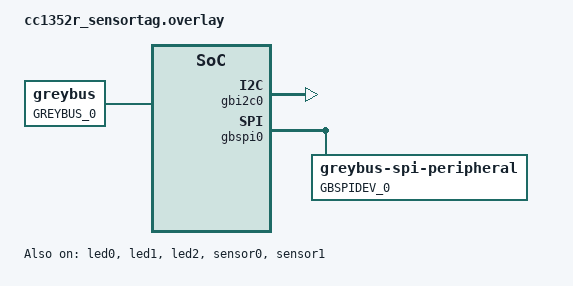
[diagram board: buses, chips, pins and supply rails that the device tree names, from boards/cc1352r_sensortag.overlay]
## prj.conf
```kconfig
CONFIG_HEAP_MEM_POOL_SIZE=16384
CONFIG_NEWLIB_LIBC=y

# Serial (required for XPORT_UART)
CONFIG_SERIAL=y

# Greybus options and dependencies
CONFIG_GREYBUS=y
CONFIG_GREYBUS_CONTROL=y
CONFIG_GREYBUS_XPORT_UART=y
CONFIG_PTHREAD_IPC=y
CONFIG_PTHREAD_DYNAMIC_STACK=y
CONFIG_THREAD_NAME=y
CONFIG_MAX_PTHREAD_COUNT=16

# Console options
CONFIG_CONSOLE_SUBSYS=y
CONFIG_CONSOLE_GETCHAR=y

# Kernel options
CONFIG_MAIN_STACK_SIZE=1024
CONFIG_ENTROPY_GENERATOR=y
CONFIG_INIT_STACKS=y

# Logging
CONFIG_LOG=y
CONFIG_PRINTK=y

# Shell
CONFIG_SHELL=n

# Pthread options
CONFIG_MAX_PTHREAD_COUNT=16
CONFIG_RING_BUFFER=y
```

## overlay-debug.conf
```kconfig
CONFIG_NO_OPTIMIZATIONS=y
CONFIG_DEBUG=y

CONFIG_ASSERT=y
CONFIG_STACK_SENTINEL=y
```

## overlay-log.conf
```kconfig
CONFIG_LOG=y
CONFIG_LOG_MODE_IMMEDIATE=y
# CONFIG_LOG_BACKEND_UART=y
CONFIG_LOG_BACKEND_SHOW_COLOR=y

CONFIG_LOG_BUFFER_SIZE=1024
CONFIG_LOG_STRDUP_BUF_COUNT=2048

CONFIG_UART_LOG_LEVEL_DBG=y
CONFIG_GREYBUS_LOG_LEVEL_DBG=y
```

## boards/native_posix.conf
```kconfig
# Copyright (c) 2020 Friedt Professional Engineering Services, Inc
# SPDX-License-Identifier: BSD-3-Clause

CONFIG_UART_NATIVE_POSIX=y
# CONFIG_UART_NATIVE_POSIX_PORT_1_ENABLE=y
# CONFIG_NATIVE_UART_0_ON_OWN_PTY=y
# CONFIG_NATIVE_UART_0_ON_STDINOUT=y
CONFIG_UART_CONSOLE=y
CONFIG_LOG_BACKEND_NATIVE_POSIX=y
CONFIG_GREYBUS_XPORT_UART_DEV="UART_0"

CONFIG_GPIO=y
CONFIG_GPIO_EMUL=y
CONFIG_GREYBUS_GPIO=y

CONFIG_I2C=y
CONFIG_I2C_EMUL=y
CONFIG_GREYBUS_I2C=y

# CONFIG_SPI=y
# CONFIG_SPI_EMUL=y
# CONFIG_GREYBUS_SPI=y

CONFIG_BMI160=y
CONFIG_EMUL_BMI160=y
CONFIG_SENSOR=y
CONFIG_BMI160_TRIGGER_NONE=y
```

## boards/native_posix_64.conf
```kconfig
# Copyright (c) 2020 Friedt Professional Engineering Services, Inc
# SPDX-License-Identifier: BSD-3-Clause

CONFIG_GPIO=y
CONFIG_GPIO_EMUL=y
CONFIG_GREYBUS_GPIO=y

CONFIG_I2C=y
CONFIG_I2C_EMUL=y
CONFIG_GREYBUS_I2C=y

# CONFIG_SPI=y
# CONFIG_SPI_EMUL=y
# CONFIG_GREYBUS_SPI=y

CONFIG_BMI160=y
CONFIG_EMUL_BMI160=y
CONFIG_SENSOR=y
CONFIG_BMI160_TRIGGER_NONE=y
```

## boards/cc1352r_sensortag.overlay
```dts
/*
 * Copyright (c) 2020 Friedt Professional Engineering Services, Inc
 *
 * SPDX-License-Identifier: BSD-3-Clause
 */
 #include <dt-bindings/greybus/greybus.h>
 #include <dt-bindings/greybus/spi.h>

/ {
	resources {
		compatible = "test,greybus-i2c";
		test-i2c = <&i2c0>; 
	};

	greybus0: greybus0 {
		compatible = "zephyr,greybus";
		label = "GREYBUS_0";
		greybus;
	};
};

&flash0 {
	status = "okay";
};

&led0 {
	status = "okay";
};

&led1 {
	status = "okay";
};

&led2 {
	status = "okay";
};

&sensor0 {
	status = "okay";
};

&sensor1 {
	status = "okay";
};

&greybus0 {
	label = "GREYBUS_0";
	status = "okay";
	/* defaults in effect, so this isn't necessary */
	version-major = <GREYBUS_VERSION_MAJOR>;
	version-minor = <GREYBUS_VERSION_MINOR>;

	gbstring1: gbstring1 {
		label = "GBSTRING_1";
		status = "okay";
		compatible = "zephyr,greybus-string";
		/* NB: string id 0 is invalid */
		id = <1>;
		greybus-string = "Zephyr Project RTOS";
	};

	gbstring2: gbstring2 {
		label = "GBSTRING_2";
		status = "okay";
		compatible = "zephyr,greybus-string";
		id = <2>;
		greybus-string = "Greybus Service Sample Application";
	};

	gbstring3: gbstring3 {
		label = "GBSTRING_3";
		status = "okay";
		compatible = "zephyr,greybus-string";
		id = <3>;
		greybus-string = "bme280";
	};

	gbstring4: gbstring4 {
			label = "GBSTRING_4";
			status = "okay";
			compatible = "zephyr,greybus-string";
			id = <4>;
			greybus-string = "opt3001";
		};
	
	/*gbstring5: gbstring5 {
			label = "GBSTRING_5";
			status = "okay";
			compatible = "zephyr,greybus-string";
			id = <5>;
			greybus-string = "sampleproperty";
		};*/

	gbinterface0 {
		label = "GBINTERFACE_0";
		status = "okay";
		compatible = "zephyr,greybus-interface";
		vendor-string-id = <&gbstring1>;
		product-string-id = <&gbstring2>;
		greybus-interface;
	};

	gbbundle0 {
		label = "GBBUNDLE_0";
		status = "okay";
		compatible = "zephyr,greybus-bundle";
		greybus-bundle;
		/* Control Bundle 0
		 * Note: control bundle 0 and control cport 0 are optional
		 * Since instance numbers automatically begin at 0, the id
		 * is a mandatory field for bundles and cports.
		 */
		id = <CONTROL_BUNDLE_ID>;
		bundle-class = <BUNDLE_CLASS_CONTROL>;

		gbcontrol0 {
			label = "GBCONTROL_0";
			status = "okay";
			compatible = "zephyr,greybus-control";
			greybus-controller;
			/* Control CPort 0
			 * Note: control bundle 0 and control cport 0 are optional
			 * Since instance numbers automatically begin at 0, the id
			 * is a mandatory field for bundles and cports.
			 */
			id = <CONTROL_CPORT_ID>;
			cport-protocol = <CPORT_PROTOCOL_CONTROL>; 
		};
	};

	gbbundle1 {
		label = "GBBUNDLE_1";
		status = "okay";
		compatible = "zephyr,greybus-bundle";
		greybus-bundle;
		id = <1>;
		bundle-class = <BUNDLE_CLASS_BRIDGED_PHY>;		
				
		gbgpio0 {
			label = "GBGPIO_0";
			status = "okay";
			compatible = "zephyr,greybus-gpio-controller";
			greybus-gpio-controller = <&gpio0>;
			/* GPIO is CPort 1 in this case */
			id = <1>;
			cport-protocol = <CPORT_PROTOCOL_GPIO>;
		};

		gbi2c0 {
			label = "GBI2C_0";
			status = "okay";
			compatible = "zephyr,greybus-i2c-controller";
			greybus-i2c-controller = <&i2c0>;
			/* I2C is CPort 2 in this case */
			id = <2>;
			cport-protocol = <CPORT_PROTOCOL_I2C>;
		};

		gbspi0 {
			label = "GBSPI_0";
			status = "okay";
			compatible = "zephyr,greybus-spi-controller";
			greybus-spi-controller = <&spi0>;
			/* SPI is CPort 3 in this case */
			id = <3>;
			cport-protocol = <CPORT_PROTOCOL_SPI>;

			/*
			 * Entries for struct gb_spi_master_config_response
			 */
			bpw-mask = <0xff>;
			min-speed-hz = <2000000>;
			max-speed-hz = <6000000>;			
			mode = <0>;
			flags = <0>;

			gbspidev0 {
				label = "GBSPIDEV_0";
				status = "okay";
				compatible = "zephyr,greybus-spi-peripheral";
				/* cs is used as an array index */				
				cs = <0>;
				
				/*
				 * Entries for struct gb_spi_device_config_response
				 */
				mode = <0>;
				bpw = <8>;
				max-speed-hz = <8000000>;
				device-type = <GB_SPI_SPI_DEV>;
				device-name = "ADXL362";
			};
		};
	};

	gbdevice0 {
		label = "GBDEVICE_0";
		status = "okay";
		compatible = "zephyr,greybus-device";
		id = <1>;
		driver-string-id = <&gbstring3>;
		protocol = <3>;
		addr = <0x76>;
		/*prop-link = <4>;
		gpio-link = <3>;
		reg-link = <2>;
		clock-link = <1>;*/
	};

	gbdevice1 {
		label = "GBDEVICE_1";
		status = "okay";
		compatible = "zephyr,greybus-device";
		id = <2>;
		driver-string-id = <&gbstring4>;
		protocol = <3>;
		addr = <0x44>;
	};

	/*gbproperty1 {
		label = "GBPROPERTY_1";
		status = "okay";
		compatible = "zephyr,greybus-property";
		id = <1>;
		name-string-id = <&gbstring5>;
		type = <3>;
		value = <1 2 3 4>;
	};*/

	gbmikrobus0 {
		label = "GBMIKROBUS_0";
		status = "okay";
		compatible = "zephyr,greybus-mikrobus";
		pwmstate = <4>;
		intstate = <1>;
		rxstate = <7>;
		txstate = <7>;
		sclstate = <6>;
		sdastate = <6>;
		mosistate = <5>;
		misostate = <5>;
		sckstate = <5>;
		csstate = <5>;
		rststate = <2>;
		anstate = <1>;
	};
};
```

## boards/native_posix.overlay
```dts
/*
 * Copyright (c) 2020 Friedt Professional Engineering Services, Inc
 *
 * SPDX-License-Identifier: BSD-3-Clause
 */
 #include <dt-bindings/greybus/greybus.h>

/ {
	resources {
		compatible = "test,greybus-i2c";
		test-i2c = <&i2c0>; 
	};
	greybus0: greybus0 {
		compatible = "zephyr,greybus";
		label = "GREYBUS_0";
		greybus;
	};

	// aliases {
	// 	// accel-0 = &bmi_spi;
	// 	accel-1 = &bmi_i2c;
	// };
};


&gpio0 {
	status = "okay";
	ngpios = <2>;
};

// &spi0 {
// 	bmi_spi: bmi@3 {
// 		compatible = "bosch,bmi160";
// 		spi-max-frequency = <50000000>;
// 		reg = <3>;
// 		label = "accel-spi";
// 	};
// };


// &i2c0 {
// 	bmi_i2c: bmi@68 {
// 		compatible = "bosch,bmi160";
// 		reg = <0x68>;
// 		label = "accel-i2c";
// 	};
// };

&greybus0 {
	label = "GREYBUS_0";
	status = "okay";
	/* defaults in effect, so this isn't necessary */
	version-major = <GREYBUS_VERSION_MAJOR>;
	version-minor = <GREYBUS_VERSION_MINOR>;

	gbstring1: gbstring1 {
		label = "GBSTRING_1";
		status = "okay";
		compatible = "zephyr,greybus-string";
		id = <1>;
		greybus-string = "Zephyr Project RTOS";
	};

	gbstring2: gbstring2 {
		label = "GBSTRING_2";
		status = "okay";
		compatible = "zephyr,greybus-string";
		id = <2>;
		greybus-string = "Greybus Service Sample Application";
	};
	gbstring3: gbstring3 {
		label = "GBSTRING_3";
		status = "okay";
		compatible = "zephyr,greybus-string";
		id = <3>;
		greybus-string = "bmi160";
	};
	gbinterface0 {
		label = "GBINTERFACE_0";
		status = "okay";
		compatible = "zephyr,greybus-interface";
		vendor-string-id = <&gbstring1>;
		product-string-id = <&gbstring2>;
		greybus-interface;
	};

	gbbundle0 {
		label = "GBBUNDLE_0";
		status = "okay";
		compatible = "zephyr,greybus-bundle";
		greybus-bundle;
		/* Control Bundle 0
		 * Note: control bundle 0 and control cport 0 are optional
		 * Since instance numbers automatically begin at 0, the id
		 * is a mandatory field for bundles and cports.
		 */
		id = <CONTROL_BUNDLE_ID>;
		bundle-class = <BUNDLE_CLASS_CONTROL>;

		gbcontrol0 {
			label = "GBCONTROL_0";
			status = "okay";
			compatible = "zephyr,greybus-control";
			greybus-controller;
			/* Control CPort 0
			 * Note: control bundle 0 and control cport 0 are optional
			 * Since instance numbers automatically begin at 0, the id
			 * is a mandatory field for bundles and cports.
			 */
			id = <CONTROL_CPORT_ID>;
			cport-protocol = <CPORT_PROTOCOL_CONTROL>; 
		};
	};
	
	gbbundle1 {
		label = "GBBUNDLE_0";
		status = "okay";
		compatible = "zephyr,greybus-bundle";
		greybus-bundle;
		id = <1>;
		bundle-class = <BUNDLE_CLASS_BRIDGED_PHY>;		
				
		gbgpio0 {
			label = "GBGPIO_0";
			status = "okay";
			compatible = "zephyr,greybus-gpio-controller";
			greybus-gpio-controller = <&gpio0>;
			id = <1>;
			cport-protocol = <CPORT_PROTOCOL_GPIO>;
		};

		// gbi2c0 {
		// 	label = "GBI2C_0";
		// 	status = "okay";
		// 	compatible = "zephyr,greybus-i2c-controller";
		// 	greybus-i2c-controller = "I2C_0";
		// 	/* I2C is CPort 2 in this case */
		// 	id = <2>;
		// 	cport-protocol = <CPORT_PROTOCOL_I2C>;
		// };
	};

	gbdevice0 {
		label = "GBDEVICE_0";
		status = "okay";
		compatible = "zephyr,greybus-device";
		id = <1>;
		driver-string-id = <&gbstring3>;
		protocol = <3>;
		addr = <0x68>;
	};
};
```

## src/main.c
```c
/*
 * Copyright (c) 2109 Friedt Professional Engineering Services, Inc
 *
 * SPDX-License-Identifier: Apache-2.0
 */

#include <stdio.h>
#include <zephyr.h>

extern int greybus_service_init(struct device *bus);

void zephyr_app_main(void)
{
	int r = greybus_service_init(NULL);
	if (r < 0) {
		printf("gb_service_deferred_init() failed: %d\n", r);
		return r;
	}

	for(;;) {
		k_usleep(1000000);
	}

	return 0;
}
```
